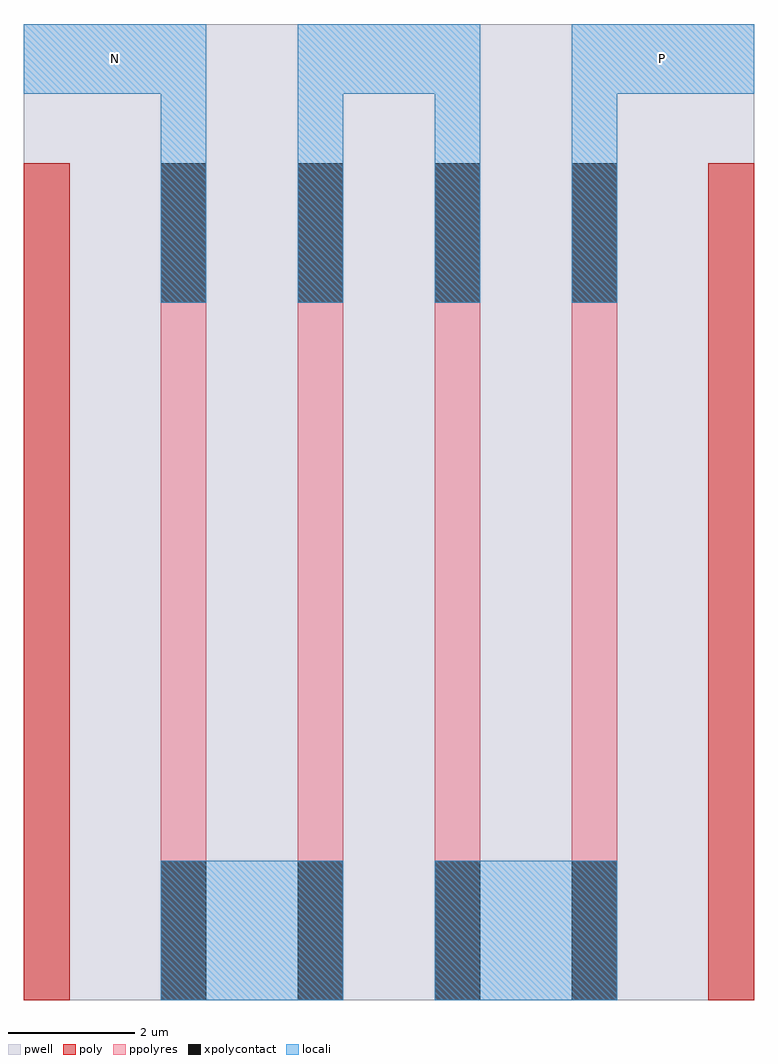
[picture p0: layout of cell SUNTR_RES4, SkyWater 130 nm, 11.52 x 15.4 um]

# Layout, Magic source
magic
tech sky130A
magscale 1 2
<< ppolyres >>
rect 360 -110 504 110
rect 792 -110 936 110
rect 1224 -110 1368 110
rect 1656 -110 1800 110
rect 360 110 504 330
rect 792 110 936 330
rect 1224 110 1368 330
rect 1656 110 1800 330
rect 360 330 504 550
rect 792 330 936 550
rect 1224 330 1368 550
rect 1656 330 1800 550
rect 360 550 504 770
rect 792 550 936 770
rect 1224 550 1368 770
rect 1656 550 1800 770
rect 360 770 504 990
rect 792 770 936 990
rect 1224 770 1368 990
rect 1656 770 1800 990
rect 360 990 504 1210
rect 792 990 936 1210
rect 1224 990 1368 1210
rect 1656 990 1800 1210
rect 360 1210 504 1430
rect 792 1210 936 1430
rect 1224 1210 1368 1430
rect 1656 1210 1800 1430
rect 360 1430 504 1650
rect 792 1430 936 1650
rect 1224 1430 1368 1650
rect 1656 1430 1800 1650
rect 360 1650 504 1870
rect 792 1650 936 1870
rect 1224 1650 1368 1870
rect 1656 1650 1800 1870
rect 360 1870 504 2090
rect 792 1870 936 2090
rect 1224 1870 1368 2090
rect 1656 1870 1800 2090
rect 360 2090 504 2310
rect 792 2090 936 2310
rect 1224 2090 1368 2310
rect 1656 2090 1800 2310
rect 360 2310 504 2530
rect 792 2310 936 2530
rect 1224 2310 1368 2530
rect 1656 2310 1800 2530
<< poly >>
rect -72 -110 72 110
rect 2088 -110 2232 110
rect -72 110 72 330
rect 2088 110 2232 330
rect -72 330 72 550
rect 2088 330 2232 550
rect -72 550 72 770
rect 2088 550 2232 770
rect -72 770 72 990
rect 2088 770 2232 990
rect -72 990 72 1210
rect 2088 990 2232 1210
rect -72 1210 72 1430
rect 2088 1210 2232 1430
rect -72 1430 72 1650
rect 2088 1430 2232 1650
rect -72 1650 72 1870
rect 2088 1650 2232 1870
rect -72 1870 72 2090
rect 2088 1870 2232 2090
rect -72 2090 72 2310
rect 2088 2090 2232 2310
rect -72 2310 72 2530
rect 2088 2310 2232 2530
<< xpolycontact >>
rect 360 -110 504 110
rect 792 -110 936 110
rect 1224 -110 1368 110
rect 1656 -110 1800 110
rect 360 110 504 330
rect 792 110 936 330
rect 1224 110 1368 330
rect 1656 110 1800 330
rect 360 2090 504 2310
rect 792 2090 936 2310
rect 1224 2090 1368 2310
rect 1656 2090 1800 2310
rect 360 2310 504 2530
rect 792 2310 936 2530
rect 1224 2310 1368 2530
rect 1656 2310 1800 2530
<< locali >>
rect 360 -110 936 110
rect 1224 -110 1800 110
rect 360 110 936 330
rect 1224 110 1800 330
rect 360 2090 504 2310
rect 792 2090 936 2310
rect 1224 2090 1368 2310
rect 1656 2090 1800 2310
rect 360 2310 504 2530
rect 792 2310 936 2530
rect 1224 2310 1368 2530
rect 1656 2310 1800 2530
rect 360 2530 504 2750
rect 792 2530 936 2750
rect 1224 2530 1368 2750
rect 1656 2530 1800 2750
rect -72 2750 504 2970
rect -72 2750 504 2970
rect 792 2750 1368 2970
rect 1656 2750 2232 2970
rect 1656 2750 2232 2970
<< pwell >>
rect -72 -110 2232 2970
<< labels >>
flabel locali s -72 2750 504 2970 0 FreeSans 400 0 0 0 N
port 1 nsew
flabel locali s 1656 2750 2232 2970 0 FreeSans 400 0 0 0 P
port 2 nsew
<< end >>
